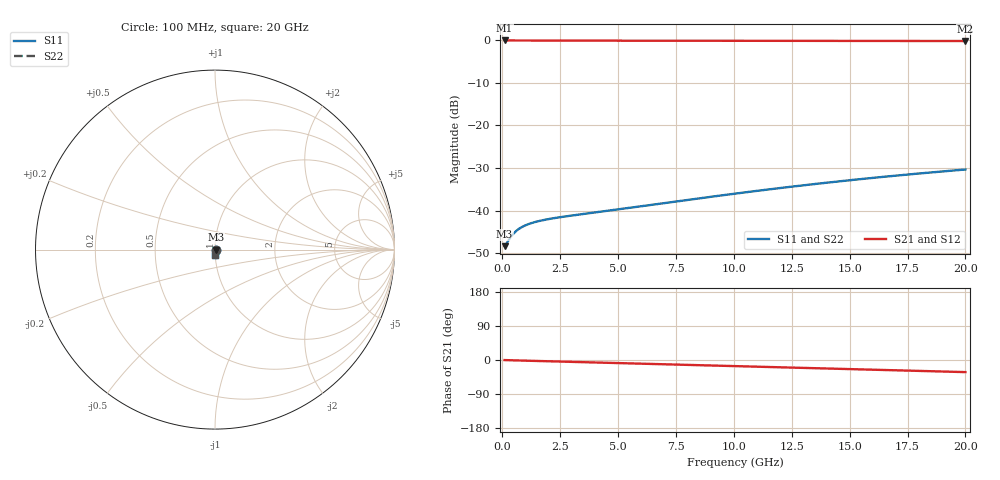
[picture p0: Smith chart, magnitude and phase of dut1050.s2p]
! Touchstone file exported from HFSS 2026.1.0
!  File:  C:/ffzhzh/LocalFiles/Ansys_Project_Files/temp_train_TMRDL_1050_1783160359_43440.aedt
!  Generated:  06:20:22 PM Jul  4, 2026
!  Design:  TMRDL
!  Project:  temp_train_TMRDL_1050_1783160359_43440
! Variables:
!  h_bsmrdl = 2um
!  h_ox = 20um
!  h_rdl = 5um
!  h_sub = 80um
!  h_tmrdl = 2.12um
!  h_tsv = 80um
!  h_via = 3um
!  l_bsmrdl = 300um
!  l_sub = 956.95um
!  l_tmrdl = 556.95um
!  m_sub = 200um
!  pitch = 30.86um
!  r_tsv = 6um
!  s_tmrdl = 10um
!  w_bsmrdl = 18um
!  w_sub = 500um
!  w_tmrdl = 27.89um
!  x_tsv_center1 = 570.895um
!  x_tsv_center2 = 888.895um
!  x_tsv_center3 = 1473.735um
!  x_tsv_center4 = 1791.735um
!  x_tsv_center5 = 2376.575um
!  x_tsv_center6 = 2694.575um
# GHz S MA R 50.000000
! Terminal data exported
! Port[1] = TM_RDL1_1_T1
! Port[2] = TM_RDL1_1_T2
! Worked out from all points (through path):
!   200 points, 100 MHz to 20 GHz, reference 50 ohm
!   highest |S21| = -0.03 dB at 100 MHz (marker M1); lowest = -0.2 dB at 20 GHz (marker M2)
!   group delay of S21, straight-line fit = 4.42 ps
!   lowest |S11| = -48.4 dB at 100 MHz (marker M3), VSWR 1.01, Z = 50.4 + j0.0547 ohm
!   |S11| at or under -10 dB: start of sweep to end of sweep
!   |S22| runs from -48.4 to -30.3 dB; largest |S21 - S12| = 2.4e-15
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0.1  0.003816 8.2  0.9962 -0.2  0.9962 -0.2  0.003816 8.2
! Gamma 0 0 0 0
! Port Impedance 50 0 50 0
0.2  0.00417 13.8  0.996 -0.4  0.996 -0.4  0.004168 13.8
0.3  0.004608 16.4  0.9956 -0.6  0.9956 -0.6  0.00461 16.6
0.4  0.00504 17.1  0.9952 -0.8  0.9952 -0.8  0.005051 17.3
0.5  0.005426 16.6  0.9948 -0.9  0.9948 -0.9  0.005449 16.8
0.6  0.00576 15.5  0.9944 -1.1  0.9944 -1.1  0.005792 15.7
0.7  0.006048 14.2  0.994 -1.3  0.994 -1.3  0.006086 14.3
0.8  0.006297 12.8  0.9937 -1.4  0.9937 -1.4  0.006337 12.8
1  0.006709 9.8  0.9932 -1.8  0.9932 -1.8  0.006746 9.7
1.2  0.007039 6.9  0.9928 -2.1  0.9928 -2.1  0.007068 6.7
1.4  0.007314 4.2  0.9925 -2.4  0.9925 -2.4  0.007334 3.9
1.9  0.007853 -2.3  0.992 -3.2  0.992 -3.2  0.00786 -2.5
2.5  0.008359 -9.2  0.9916 -4.1  0.9916 -4.1  0.008364 -9.3
3.5  0.009113 -18.9  0.9911 -5.7  0.9911 -5.7  0.009125 -18.9
6.8  0.01203 -41.6  0.9895 -11.0  0.9895 -11.0  0.01208 -41.5
10.1  0.01587 -56.8  0.9876 -16.3  0.9876 -16.3  0.01596 -56.5
11.8  0.01812 -63.0  0.9865 -19.0  0.9865 -19.0  0.01824 -62.6
13.4  0.02037 -68.3  0.9854 -21.5  0.9854 -21.5  0.02052 -67.9
15  0.02271 -73.2  0.9843 -24.1  0.9843 -24.1  0.02289 -72.7
16.7  0.02527 -78.0  0.9831 -26.8  0.9831 -26.8  0.02548 -77.5
18.3  0.02772 -82.4  0.982 -29.3  0.982 -29.3  0.02796 -81.7
20  0.03035 -86.7  0.9808 -32.0  0.9808 -32.0  0.03062 -86.0
